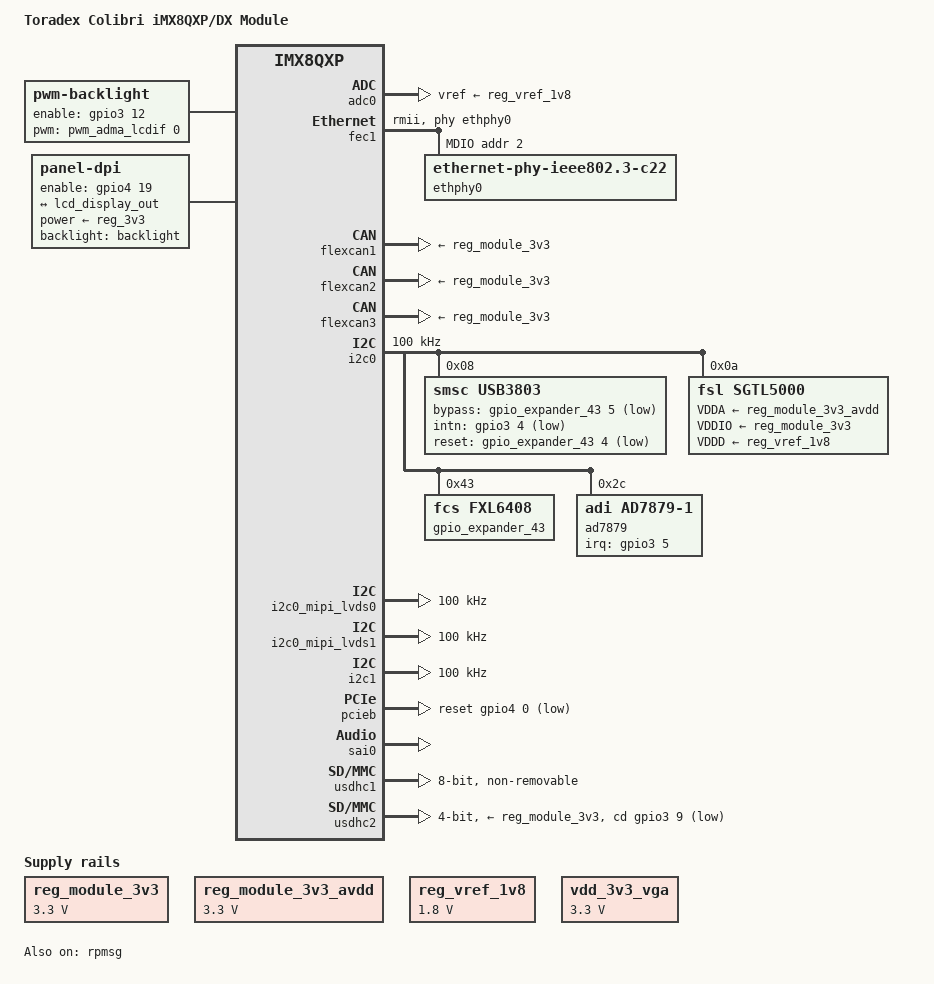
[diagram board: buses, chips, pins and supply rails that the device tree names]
// SPDX-License-Identifier: GPL-2.0+ OR X11
/*
 * Copyright 2018-2019 Toradex
 */

#include "dt-bindings/pwm/pwm.h"
#include "fsl-imx8qxp.dtsi"

/ {
	model = "Toradex Colibri iMX8QXP/DX Module";
	compatible = "toradex,colibri-imx8x", "fsl,imx8qxp";

	chosen {
		bootargs = "console=ttyLP3,115200 earlycon=lpuart32,0x5a090000,115200";
		stdout-path = &lpuart3;
	};

	backlight: backlight {
		compatible = "pwm-backlight";
		pinctrl-names = "default";
		pinctrl-0 = <&pinctrl_gpio_bl_on>;
		enable-gpios = <&gpio3 12 GPIO_ACTIVE_HIGH>; /* Colibri BL_ON */
		status = "disabled";
	};

	panel: panel {
		/*
		 * edt,et057090dhu: EDT 5.7" LCD TFT
		 * edt,et070080dh6: EDT 7.0" LCD TFT
		 * logictechno,lt161010-2nhc: Cap. Touch Display 7" Parallel
		 * logictechno,lt161010-2nhr: Res. Touch Display 7" Parallel
		 * logictechno,lt170410-2whc: Cap. Touch Display 10.1" LVDS
		 * tpk,f07a-0102: Capacitive Multi-Touch Display Fusion 7"
		 * tpk,f10a-0102: Capacitive Multi-Touch Display Fusion 10"
		 */
		compatible = "panel-dpi";
		backlight = <&backlight>;
		enable-gpios = <&gpio4 19 GPIO_ACTIVE_HIGH>;
		power-supply = <&reg_3v3>;

		width-mm = <217>;
		height-mm = <136>;

		data-mapping = "bgr666";

		panel-timing {
			/* Default VESA VGA display timings */
			clock-frequency = <25175000>;
			hactive = <640>;
			hback-porch = <48>;
			hfront-porch = <16>;
			hsync-len = <96>;
			vactive = <480>;
			vback-porch = <31>;
			vfront-porch = <11>;
			vsync-len = <2>;
			pixelclk-active = <0>;
		};

		port {
			lcd_panel_in: endpoint {
				remote-endpoint = <&lcd_display_out>;
			};
		};
	};

	regulators {
		compatible = "simple-bus";
		#address-cells = <1>;
		#size-cells = <0>;

		reg_module_3v3: regulator-module-3v3 {
			compatible = "regulator-fixed";
			regulator-name = "+V3.3";
			regulator-min-microvolt = <3300000>;
			regulator-max-microvolt = <3300000>;
		};

		reg_module_3v3_avdd: regulator-module-3v3-avdd {
			compatible = "regulator-fixed";
			regulator-name = "+V3.3_AVDD_AUDIO";
			regulator-min-microvolt = <3300000>;
			regulator-max-microvolt = <3300000>;
		};

		reg_vref_1v8: regulator-vref-1v8 {
			compatible = "regulator-fixed";
			regulator-name = "vref-1v8";
			regulator-min-microvolt = <1800000>;
			regulator-max-microvolt = <1800000>;
		};

		vdd_3v3_vga: regulator-vga-avcc {
			compatible = "regulator-fixed";
			regulator-name = "+3.3V_AVCC_VGA";
			regulator-min-microvolt = <3300000>;
			regulator-max-microvolt = <3300000>;
			regulator-always-on;
		};
	};

	sound {
		compatible = "simple-audio-card";
		simple-audio-card,name = "imx8qxp-sgtl5000";
		simple-audio-card,format = "i2s";
		simple-audio-card,bitclock-master = <&dailink_master>;
		simple-audio-card,frame-master = <&dailink_master>;
		/*simple-audio-card,mclk-fs = <1>;*/

		simple-audio-card,cpu {
			sound-dai = <&sai0>;
		};

		dailink_master: simple-audio-card,codec {
			sound-dai = <&sgtl5000>;
			clocks = <&clk IMX8QXP_AUD_MCLKOUT0>;
		};
	};
};

/* Colibri Analogue Inputs */
&adc0 {
	pinctrl-names = "default";
	pinctrl-0 = <&pinctrl_adc0>;
	vref-supply = <&reg_vref_1v8>;
};

/* Colibri Parallel RGB */
&adma_lcdif {
	pinctrl-names = "default";
	pinctrl-0 = <&pinctrl_lcdif>;
	bus-width = <18>;
	status = "okay";

	port@0 {
		lcd_display_out: lcdif-endpoint {
			remote-endpoint = <&lcd_panel_in>;
		};
	};
};

&backlight {
	brightness-levels = <0 45 63 88 119 158 203 255>;
	default-brightness-level = <4>;
	pwms = <&pwm_adma_lcdif 0 6666667 PWM_POLARITY_INVERTED>;
	status = "okay";
};

/* Colibri Ethernet */
&fec1 {
	pinctrl-names = "default", "sleep";
	pinctrl-0 = <&pinctrl_fec1>;
	pinctrl-1 = <&pinctrl_fec1_sleep>;
	clocks = <&clk IMX8QXP_ENET0_IPG_CLK>,
		 <&clk IMX8QXP_ENET0_AHB_CLK>,
		 <&clk IMX8QXP_ENET0_REF_50MHZ_CLK>,
		 <&clk IMX8QXP_ENET0_PTP_CLK>,
		 <&clk IMX8QXP_ENET0_TX_CLK>;
	phy-mode = "rmii";
	phy-handle = <&ethphy0>;
	fsl,magic-packet;

	mdio {
		#address-cells = <1>;
		#size-cells = <0>;

		ethphy0: ethernet-phy@2 {
			compatible = "ethernet-phy-ieee802.3-c22";
			max-speed = <100>;
			reg = <2>;
		};
	};
};

/* Colibri optional CAN on UART_B RTS/CTS */
&flexcan1 {
	pinctrl-names = "default";
	pinctrl-0 = <&pinctrl_flexcan1>;
	xceiver-supply = <&reg_module_3v3>;
};

/* Colibri optional CAN on PS2 */
&flexcan2 {
	pinctrl-names = "default";
	pinctrl-0 = <&pinctrl_flexcan2>;
	xceiver-supply = <&reg_module_3v3>;
};

/* Colibri optional CAN on UART_A TXD/RXD */
&flexcan3 {
	pinctrl-names = "default";
	pinctrl-0 = <&pinctrl_flexcan3>;
	xceiver-supply = <&reg_module_3v3>;
};

&gpio0 {
	status = "okay";
};

&gpio1 {
	status = "okay";
};

&gpio3 {
	status = "okay";
};

&gpio4 {
	status = "okay";
};

/* On-module I2C */
&i2c0 {
	#address-cells = <1>;
	#size-cells = <0>;
	clock-frequency = <100000>;
	pinctrl-names = "default";
	pinctrl-0 = <&pinctrl_i2c0>, <&pinctrl_sgtl5000_usb_clk>;
	status = "okay";

	/*
	 * IMX8QXP_AUD_MCLKOUT0 is used by both the usb3803 and sgtl5000
	 * So do the pinmuxing and setup for both here
	 */
	assigned-clocks = <&clk IMX8QXP_AUD_PLL0_DIV>,
			  <&clk IMX8QXP_AUD_ACM_AUD_PLL_CLK0_DIV>,
			  <&clk IMX8QXP_AUD_ACM_AUD_REC_CLK0_DIV>,
			  <&clk IMX8QXP_AUD_MCLKOUT0>;
	assigned-clock-rates = <786432000>, <49152000>, <12000000>, <12000000>;

	/* USB3503A */
	usb3803@08 {
		compatible = "smsc,usb3803";
		pinctrl-names = "default";
		pinctrl-0 = <&pinctrl_usb3503a>;
		reg = <0x08>;
		clocks = <&clk IMX8QXP_AUD_MCLKOUT0>;
		clock-names = "refclk";
		power-domains = <&pd_mclk_out0>;
		bypass-gpios = <&gpio_expander_43 5 GPIO_ACTIVE_LOW>;
		intn-gpios = <&gpio3 4 GPIO_ACTIVE_LOW>;
		reset-gpios = <&gpio_expander_43 4 GPIO_ACTIVE_LOW>;
		disabled-ports = <2>;
		initial-mode = <1>;
		non-removable-devices = <1>;
	};

	/* SGTL5000 */
	sgtl5000: codec@a {
		compatible = "fsl,sgtl5000";
		#sound-dai-cells = <0>;
		pinctrl-names = "default";
		pinctrl-0 = <&pinctrl_sgtl5000>;
		reg = <0x0a>;
		clocks = <&clk IMX8QXP_AUD_MCLKOUT0>;
		power-domains = <&pd_mclk_out0>;
		VDDA-supply = <&reg_module_3v3_avdd>;
		VDDIO-supply = <&reg_module_3v3>;
		VDDD-supply = <&reg_vref_1v8>;
	};

	/* GPIO expander */
	gpio_expander_43: gpio-expander@43 {
		compatible = "fcs,fxl6408";
		gpio-controller;
		#gpio-cells = <2>;
		reg = <0x43>;
		inital_io_dir = <0xff>;
		inital_output = <0x05>;
	};

	/* Touch controller */
	ad7879@2c {
		compatible = "adi,ad7879-1";
		pinctrl-names = "default";
		pinctrl-0 = <&pinctrl_ad7879_int>;
		reg = <0x2c>;
		interrupt-parent = <&gpio3>;
		interrupts = <5 IRQ_TYPE_EDGE_FALLING>;
		touchscreen-max-pressure = <4096>;
		adi,resistance-plate-x = <120>;
		adi,first-conversion-delay = /bits/ 8 <3>;
		adi,acquisition-time = /bits/ 8 <1>;
		adi,median-filter-size = /bits/ 8 <2>;
		adi,averaging = /bits/ 8 <1>;
		adi,conversion-interval = /bits/ 8 <255>;
	};
};

/* MIPI DSI accessible on FFC (X2) */
&i2c0_mipi_lvds0 {
	#address-cells = <1>;
	#size-cells = <0>;
	pinctrl-names = "default";
	pinctrl-0 = <&pinctrl_i2c0_mipi_lvds0>;
	clock-frequency = <100000>;
};

/* MIPI CSI accessible on FFC (X3) */
&i2c0_mipi_lvds1 {
	#address-cells = <1>;
	#size-cells = <0>;
	clock-frequency = <100000>;
	pinctrl-names = "default";
	pinctrl-0 = <&pinctrl_i2c0_mipi_lvds1>;
};

/* Colibri I2C */
&i2c1 {
	#address-cells = <1>;
	#size-cells = <0>;
	clock-frequency = <100000>;
	pinctrl-names = "default";
	pinctrl-0 = <&pinctrl_i2c1>;

	/* Atmel maxtouch controller */
	atmel_mxt_ts: atmel_mxt_ts@4a {
		compatible = "atmel,maxtouch";
		pinctrl-names = "default";
		pinctrl-0 = <&pinctrl_mxt_ts>;
		reg = <0x4a>;
		interrupt-parent = <&gpio3>;
		interrupts = <20 IRQ_TYPE_EDGE_FALLING>;	/* SODIMM 107 */
		reset-gpios = <&gpio3 24 GPIO_ACTIVE_HIGH>;	/* SODIMM 106 */
                status = "disabled";
        };
};

&iomuxc {
	pinctrl-names = "default";
	pinctrl-0 = <&pinctrl_hog0>, <&pinctrl_hog1>, <&pinctrl_hog2>,
			<&pinctrl_ext_io0>, <&pinctrl_mxt_ts>;

	colibri-imx8qxp {
		/* On-module touch pen-down interrupt */
		pinctrl_ad7879_int: ad7879-int {
			fsl,pins = <
				SC_P_MIPI_CSI0_I2C0_SCL_LSIO_GPIO3_IO05		0x21
			>;
		};

		/* Colibri Analogue Inputs */
		pinctrl_adc0: adc0grp {
			fsl,pins = <
				SC_P_ADC_IN0_ADMA_ADC_IN0			0x60		/* SODIMM   8 */
				SC_P_ADC_IN1_ADMA_ADC_IN1			0x60		/* SODIMM   6 */
				SC_P_ADC_IN4_ADMA_ADC_IN4			0x60		/* SODIMM   4 */
				SC_P_ADC_IN5_ADMA_ADC_IN5			0x60		/* SODIMM   2 */
			>;
		};

		pinctrl_can_int: can-int-grp {
			fsl,pins = <
				SC_P_QSPI0A_DQS_LSIO_GPIO3_IO13			0x40		/* SODIMM  73 */
			>;
		};

		pinctrl_csi_ctl: csictlgrp {
			fsl,pins = <
				SC_P_QSPI0A_SS0_B_LSIO_GPIO3_IO14		0x20		/* SODIMM  77 */
				SC_P_QSPI0A_SS1_B_LSIO_GPIO3_IO15		0x20		/* SODIMM  89 */
			>;
		};

		pinctrl_gpiokeys: gpiokeysgrp {
			fsl,pins = <
				SC_P_QSPI0A_DATA1_LSIO_GPIO3_IO10		0x06700041	/* SODIMM  45 */
			>;
		};

		/* Colibri UART_B */
		pinctrl_lpuart0: lpuart0grp {
			fsl,pins = <
				SC_P_UART0_RX_ADMA_UART0_RX			0x06000020	/* SODIMM  36 */
				SC_P_UART0_TX_ADMA_UART0_TX			0x06000020	/* SODIMM  38 */
				SC_P_FLEXCAN0_RX_ADMA_UART0_RTS_B		0x06000020	/* SODIMM  34 */
				SC_P_FLEXCAN0_TX_ADMA_UART0_CTS_B		0x06000020	/* SODIMM  32 */
			>;
		};

		/* Colibri UART_C */
		pinctrl_lpuart2: lpuart2grp {
			fsl,pins = <
				SC_P_UART2_RX_ADMA_UART2_RX			0x06000020	/* SODIMM  19 */
				SC_P_UART2_TX_ADMA_UART2_TX			0x06000020	/* SODIMM  21 */
			>;
		};

		/* Colibri UART_A */
		pinctrl_lpuart3: lpuart3grp {
			fsl,pins = <
				SC_P_FLEXCAN2_RX_ADMA_UART3_RX			0x06000020	/* SODIMM  33 */
				SC_P_FLEXCAN2_TX_ADMA_UART3_TX			0x06000020	/* SODIMM  35 */
			>;
		};

		/* Colibri UART_A Control */
		pinctrl_lpuart3_ctrl: lpuart3ctrlgrp {
			fsl,pins = <
				SC_P_MIPI_DSI1_GPIO0_01_LSIO_GPIO2_IO00 	0x20		/* SODIMM  23 */
				SC_P_SAI1_RXD_LSIO_GPIO0_IO29			0x20		/* SODIMM  25 */
				SC_P_SAI1_RXC_LSIO_GPIO0_IO30			0x20		/* SODIMM  27 */
				SC_P_CSI_RESET_LSIO_GPIO3_IO03			0x20		/* SODIMM  29 */
				SC_P_USDHC1_CD_B_LSIO_GPIO4_IO22		0x20		/* SODIMM  31 */
				SC_P_CSI_EN_LSIO_GPIO3_IO02			0x20		/* SODIMM  37 */
			>;
		};

		/* Colibri Ethernet: On-module 100Mbps PHY Micrel KSZ8041 */
		pinctrl_fec1: fec1grp {
			fsl,pins = <
				SC_P_COMP_CTL_GPIO_1V8_3V3_ENET_ENETB0_PAD	0x000014a0 /* Use pads in 3.3V mode */
				SC_P_COMP_CTL_GPIO_1V8_3V3_ENET_ENETB1_PAD	0x000014a0 /* Use pads in 3.3V mode */
				SC_P_ENET0_MDC_CONN_ENET0_MDC			0x06000020
				SC_P_ENET0_MDIO_CONN_ENET0_MDIO			0x06000020
				SC_P_ENET0_RGMII_TX_CTL_CONN_ENET0_RGMII_TX_CTL	0x61
				SC_P_ENET0_RGMII_TXC_CONN_ENET0_RCLK50M_OUT	0x06000061
				SC_P_ENET0_RGMII_TXD0_CONN_ENET0_RGMII_TXD0	0x61
				SC_P_ENET0_RGMII_TXD1_CONN_ENET0_RGMII_TXD1	0x61
				SC_P_ENET0_RGMII_RX_CTL_CONN_ENET0_RGMII_RX_CTL	0x61
				SC_P_ENET0_RGMII_RXD0_CONN_ENET0_RGMII_RXD0	0x61
				SC_P_ENET0_RGMII_RXD1_CONN_ENET0_RGMII_RXD1	0x61
				SC_P_ENET0_RGMII_RXD2_CONN_ENET0_RMII_RX_ER	0x61
			>;
		};

		pinctrl_fec1_sleep: fec1-sleep-grp {
			fsl,pins = <
				SC_P_ENET0_MDC_LSIO_GPIO5_IO11			0x06000041
				SC_P_ENET0_MDIO_LSIO_GPIO5_IO10			0x06000041
				SC_P_ENET0_RGMII_TX_CTL_LSIO_GPIO4_IO30		0x41
				SC_P_ENET0_RGMII_TXC_LSIO_GPIO4_IO29		0x41
				SC_P_ENET0_RGMII_TXD0_LSIO_GPIO4_IO31		0x41
				SC_P_ENET0_RGMII_TXD1_LSIO_GPIO5_IO00		0x41
				SC_P_ENET0_RGMII_RX_CTL_LSIO_GPIO5_IO04		0x41
				SC_P_ENET0_RGMII_RXD0_LSIO_GPIO5_IO05		0x41
				SC_P_ENET0_RGMII_RXD1_LSIO_GPIO5_IO06		0x41
				SC_P_ENET0_RGMII_RXD2_LSIO_GPIO5_IO07		0x41
			>;
		};

		/* Colibri LCD Back-Light GPIO */
		pinctrl_gpio_bl_on: gpio-bl-on {
			fsl,pins = <
				SC_P_QSPI0A_DATA3_LSIO_GPIO3_IO12		0x60		/* SODIMM  71 */
			>;
		};

		pinctrl_hog0: hog0grp {
			fsl,pins = <
				SC_P_COMP_CTL_GPIO_1V8_3V3_GPIORHB_PAD		0x000514a0 /* Use pads in 3.3V mode */
			>;
		};

		pinctrl_hog1: hog1grp {
			fsl,pins = <
				SC_P_ENET0_RGMII_TXD3_LSIO_GPIO5_IO02		0x06000020	/* SODIMM  65 */
				SC_P_CSI_D07_CI_PI_D09				0x61		/* SODIMM  65 */
				SC_P_QSPI0A_DATA2_LSIO_GPIO3_IO11		0x20		/* SODIMM  69 */
				SC_P_SAI0_TXC_LSIO_GPIO0_IO26			0x20		/* SODIMM  79 */
				SC_P_CSI_D02_CI_PI_D04				0x61		/* SODIMM  79 */
				SC_P_ENET0_RGMII_RXC_LSIO_GPIO5_IO03		0x06000020	/* SODIMM  85 */
				SC_P_CSI_D06_CI_PI_D08				0x61		/* SODIMM  85 */
				SC_P_QSPI0B_SCLK_LSIO_GPIO3_IO17		0x20		/* SODIMM  95 */
				SC_P_SAI0_RXD_LSIO_GPIO0_IO27			0x20		/* SODIMM  97 */
				SC_P_CSI_D03_CI_PI_D05				0x61		/* SODIMM  97 */
				SC_P_QSPI0B_DATA0_LSIO_GPIO3_IO18		0x20		/* SODIMM  99 */
				SC_P_SAI0_TXFS_LSIO_GPIO0_IO28			0x20		/* SODIMM 101 */
				SC_P_CSI_D00_CI_PI_D02				0x61		/* SODIMM 101 */
				SC_P_SAI0_TXD_LSIO_GPIO0_IO25			0x20		/* SODIMM 103 */
				SC_P_CSI_D01_CI_PI_D03				0x61		/* SODIMM 103 */
				SC_P_QSPI0B_DATA1_LSIO_GPIO3_IO19		0x20		/* SODIMM 105 */
				SC_P_USB_SS3_TC2_LSIO_GPIO4_IO05		0x20		/* SODIMM 127 */
				SC_P_USB_SS3_TC3_LSIO_GPIO4_IO06		0x20		/* SODIMM 131 */
				SC_P_USB_SS3_TC1_LSIO_GPIO4_IO04		0x20		/* SODIMM 133 */
				SC_P_CSI_PCLK_LSIO_GPIO3_IO00			0x20		/* SODIMM  96 */
				SC_P_QSPI0B_DATA3_LSIO_GPIO3_IO21		0x20		/* SODIMM  98 */
				SC_P_SAI1_RXFS_LSIO_GPIO0_IO31			0x20		/* SODIMM 100 */
				SC_P_QSPI0B_DQS_LSIO_GPIO3_IO22			0x20		/* SODIMM 102 */
				SC_P_QSPI0B_SS0_B_LSIO_GPIO3_IO23		0x20		/* SODIMM 104 */
			>;
		};

		pinctrl_hog2: hog2grp {
			fsl,pins = <
				SC_P_CSI_MCLK_LSIO_GPIO3_IO01			0x20		/* SODIMM  75 */
				SC_P_QSPI0A_SCLK_LSIO_GPIO3_IO16		0x20		/* SODIMM  93 */
			>;
		};

		/*
		 * This pin is used in the SCFW as a UART. Using it from
		 * Linux would require rewritting the SCFW board file.
		 */
		pinctrl_hog_scfw: hogscfwgrp {
			fsl,pins = <
				SC_P_SCU_GPIO0_00_LSIO_GPIO2_IO03		0x20		/* SODIMM 144 */
			>;
		};

		/* On Module I2C */
		pinctrl_i2c0: i2c0grp {
			fsl,pins = <
				SC_P_MIPI_CSI0_GPIO0_00_ADMA_I2C0_SCL		0x06000021
				SC_P_MIPI_CSI0_GPIO0_01_ADMA_I2C0_SDA		0x06000021
			>;
		};

		/* Colibri I2C */
		pinctrl_i2c1: i2c1grp {
			fsl,pins = <
				SC_P_MIPI_DSI0_GPIO0_00_ADMA_I2C1_SCL		0x06000021	/* SODIMM 196 */
				SC_P_MIPI_DSI0_GPIO0_01_ADMA_I2C1_SDA		0x06000021	/* SODIMM 194 */
			>;
		};

		/* Colibri optional CAN on UART_B RTS/CTS */
		pinctrl_flexcan1: flexcan0grp {
			fsl,pins = <
				SC_P_FLEXCAN0_TX_ADMA_FLEXCAN0_TX		0x21		/* SODIMM  32 */
				SC_P_FLEXCAN0_RX_ADMA_FLEXCAN0_RX		0x21		/* SODIMM  34 */
			>;
		};

		/* Colibri optional CAN on PS2 */
		pinctrl_flexcan2: flexcan1grp {
			fsl,pins = <
				SC_P_FLEXCAN1_TX_ADMA_FLEXCAN1_TX		0x21		/* SODIMM  55 */
				SC_P_FLEXCAN1_RX_ADMA_FLEXCAN1_RX		0x21		/* SODIMM  63 */
			>;
		};

		/* Colibri optional CAN on UART_A TXD/RXD */
		pinctrl_flexcan3: flexcan2grp {
			fsl,pins = <
				SC_P_FLEXCAN2_TX_ADMA_FLEXCAN2_TX		0x21		/* SODIMM  35 */
				SC_P_FLEXCAN2_RX_ADMA_FLEXCAN2_RX		0x21		/* SODIMM  33 */
			>;
		};

		/* On module wifi module */
		pinctrl_pcieb: pciebgrp {
			fsl,pins = <
				SC_P_PCIE_CTRL0_CLKREQ_B_LSIO_GPIO4_IO01	0x04000061	/* SODIMM 178 */
				SC_P_PCIE_CTRL0_WAKE_B_LSIO_GPIO4_IO02		0x04000061	/* SODIMM  94 */
				SC_P_PCIE_CTRL0_PERST_B_LSIO_GPIO4_IO00		0x60		/* SODIMM  81 */
			>;
		};

		/* Colibri PWM_A */
		pinctrl_pwm_a: pwma {
		/* both pins are connected together, reserve the unused CSI_D05 */
			fsl,pins = <
				SC_P_CSI_D05_CI_PI_D07				0x61		/* SODIMM  59 */
				SC_P_SPI0_CS1_ADMA_LCD_PWM0_OUT			0x60		/* SODIMM  59 */
			>;
		};

		/* Colibri PWM_B */
		pinctrl_pwm_b: pwmb {
			fsl,pins = <
				SC_P_UART1_TX_LSIO_PWM0_OUT			0x60		/* SODIMM  28 */
			>;
		};

		/* Colibri PWM_C */
		pinctrl_pwm_c: pwmc {
			fsl,pins = <
				SC_P_UART1_RX_LSIO_PWM1_OUT			0x60		/* SODIMM  30 */
			>;
		};

		/* Colibri PWM_D */
		pinctrl_pwm_d: pwmd {
		/* both pins are connected together, reserve the unused CSI_D04 */
			fsl,pins = <
				SC_P_CSI_D04_CI_PI_D06				0x61		/* SODIMM  67 */
				SC_P_UART1_RTS_B_LSIO_PWM2_OUT			0x60		/* SODIMM  67 */
			>;
		};

		/* On-module I2S */
		pinctrl_sai0: sai0grp {
			fsl,pins = <
				SC_P_SPI0_SDI_ADMA_SAI0_TXD			0x06000040
				SC_P_SPI0_CS0_ADMA_SAI0_RXD			0x06000040
				SC_P_SPI0_SCK_ADMA_SAI0_TXC			0x06000040
				SC_P_SPI0_SDO_ADMA_SAI0_TXFS			0x06000040
			>;
		};

		/* Colibri Audio Analogue Microphone GND */
		pinctrl_sgtl5000: sgtl5000 {
			fsl,pins = <
				/* MIC GND EN */
				SC_P_MIPI_CSI0_I2C0_SDA_LSIO_GPIO3_IO06		0x41
			>;
		};

		/* On-module SGTL5000 clock */
		pinctrl_sgtl5000_usb_clk: sgtl5000-usb-clk {
			fsl,pins = <
				SC_P_ADC_IN3_ADMA_ACM_MCLK_OUT0			0x21
			>;
		};

		/* On-module USB interrupt */
		pinctrl_usb3503a: usb3503a-grp {
			fsl,pins = <
				SC_P_MIPI_CSI0_MCLK_OUT_LSIO_GPIO3_IO04		0x61
			>;
		};

		/* Colibri USB Client Cable Detect */
		pinctrl_usbc_det: usbc-det {
			fsl,pins = <
				SC_P_ENET0_REFCLK_125M_25M_LSIO_GPIO5_IO09	0x06000040	/* SODIMM 137 */
			>;
		};

		pinctrl_ext_io0: ext-io0 {
			fsl,pins = <
				SC_P_ENET0_RGMII_RXD3_LSIO_GPIO5_IO08		0x06000040	/* SODIMM 135 */
			>;
		};

		/* Colibri Parallel RGB LCD Interface */
		pinctrl_lcdif: lcdif-pins {
			fsl,pins = <
				SC_P_MCLK_OUT0_ADMA_LCDIF_CLK			0x60		/* SODIMM  56 */
				SC_P_SPI3_CS0_ADMA_LCDIF_HSYNC			0x60		/* SODIMM  68 */
				SC_P_MCLK_IN0_ADMA_LCDIF_VSYNC			0x60		/* SODIMM  82 */
				SC_P_MCLK_IN1_ADMA_LCDIF_EN			0x60		/* SODIMM  44 */
				SC_P_USDHC1_RESET_B_LSIO_GPIO4_IO19		0x60		/* SODIMM  44 */
				SC_P_ESAI0_FSR_ADMA_LCDIF_D00			0x60		/* SODIMM  76 */
				SC_P_USDHC1_WP_LSIO_GPIO4_IO21			0x60		/* SODIMM  76 */
				SC_P_ESAI0_FST_ADMA_LCDIF_D01			0x60		/* SODIMM  70 */
				SC_P_ESAI0_SCKR_ADMA_LCDIF_D02			0x60		/* SODIMM  60 */
				SC_P_ESAI0_SCKT_ADMA_LCDIF_D03			0x60		/* SODIMM  58 */
				SC_P_ESAI0_TX0_ADMA_LCDIF_D04			0x60		/* SODIMM  78 */
				SC_P_ESAI0_TX1_ADMA_LCDIF_D05			0x60		/* SODIMM  72 */
				SC_P_ESAI0_TX2_RX3_ADMA_LCDIF_D06		0x60		/* SODIMM  80 */
				SC_P_ESAI0_TX3_RX2_ADMA_LCDIF_D07		0x60		/* SODIMM  46 */
				SC_P_ESAI0_TX4_RX1_ADMA_LCDIF_D08		0x60		/* SODIMM  62 */
				SC_P_ESAI0_TX5_RX0_ADMA_LCDIF_D09		0x60		/* SODIMM  48 */
				SC_P_SPDIF0_RX_ADMA_LCDIF_D10			0x60		/* SODIMM  74 */
				SC_P_SPDIF0_TX_ADMA_LCDIF_D11			0x60		/* SODIMM  50 */
				SC_P_SPDIF0_EXT_CLK_ADMA_LCDIF_D12		0x60		/* SODIMM  52 */
				SC_P_SPI3_SCK_ADMA_LCDIF_D13			0x60		/* SODIMM  54 */
				SC_P_SPI3_SDO_ADMA_LCDIF_D14			0x60		/* SODIMM  66 */
				SC_P_SPI3_SDI_ADMA_LCDIF_D15			0x60		/* SODIMM  64 */
				SC_P_SPI3_CS1_ADMA_LCDIF_D16			0x60		/* SODIMM  57 */
				SC_P_ENET0_RGMII_TXD2_LSIO_GPIO5_IO01		0x60		/* SODIMM  57 */
				SC_P_UART1_CTS_B_ADMA_LCDIF_D17			0x60		/* SODIMM  61 */
			>;
		};

		/* USB Host Power Enable */
		pinctrl_usbh1_reg: usbh1-reg {
			fsl,pins = <
				SC_P_USB_SS3_TC0_LSIO_GPIO4_IO03		0x06000040	/* SODIMM 129 */
			>;
		};

		/* On-module eMMC */
		pinctrl_usdhc1: usdhc1grp {
			fsl,pins = <
				SC_P_EMMC0_CLK_CONN_EMMC0_CLK			0x06000041
				SC_P_EMMC0_CMD_CONN_EMMC0_CMD			0x21
				SC_P_EMMC0_DATA0_CONN_EMMC0_DATA0		0x21
				SC_P_EMMC0_DATA1_CONN_EMMC0_DATA1		0x21
				SC_P_EMMC0_DATA2_CONN_EMMC0_DATA2		0x21
				SC_P_EMMC0_DATA3_CONN_EMMC0_DATA3		0x21
				SC_P_EMMC0_DATA4_CONN_EMMC0_DATA4		0x21
				SC_P_EMMC0_DATA5_CONN_EMMC0_DATA5		0x21
				SC_P_EMMC0_DATA6_CONN_EMMC0_DATA6		0x21
				SC_P_EMMC0_DATA7_CONN_EMMC0_DATA7		0x21
				SC_P_EMMC0_STROBE_CONN_EMMC0_STROBE		0x41
				SC_P_EMMC0_RESET_B_CONN_EMMC0_RESET_B		0x21
			>;
		};

		pinctrl_usdhc1_100mhz: usdhc1grp100mhz {
			fsl,pins = <
				SC_P_EMMC0_CLK_CONN_EMMC0_CLK			0x06000041
				SC_P_EMMC0_CMD_CONN_EMMC0_CMD			0x21
				SC_P_EMMC0_DATA0_CONN_EMMC0_DATA0		0x21
				SC_P_EMMC0_DATA1_CONN_EMMC0_DATA1		0x21
				SC_P_EMMC0_DATA2_CONN_EMMC0_DATA2		0x21
				SC_P_EMMC0_DATA3_CONN_EMMC0_DATA3		0x21
				SC_P_EMMC0_DATA4_CONN_EMMC0_DATA4		0x21
				SC_P_EMMC0_DATA5_CONN_EMMC0_DATA5		0x21
				SC_P_EMMC0_DATA6_CONN_EMMC0_DATA6		0x21
				SC_P_EMMC0_DATA7_CONN_EMMC0_DATA7		0x21
				SC_P_EMMC0_STROBE_CONN_EMMC0_STROBE		0x41
				SC_P_EMMC0_RESET_B_CONN_EMMC0_RESET_B		0x21
			>;
		};

		pinctrl_usdhc1_200mhz: usdhc1grp200mhz {
			fsl,pins = <
				SC_P_EMMC0_CLK_CONN_EMMC0_CLK			0x06000041
				SC_P_EMMC0_CMD_CONN_EMMC0_CMD			0x21
				SC_P_EMMC0_DATA0_CONN_EMMC0_DATA0		0x21
				SC_P_EMMC0_DATA1_CONN_EMMC0_DATA1		0x21
				SC_P_EMMC0_DATA2_CONN_EMMC0_DATA2		0x21
				SC_P_EMMC0_DATA3_CONN_EMMC0_DATA3		0x21
				SC_P_EMMC0_DATA4_CONN_EMMC0_DATA4		0x21
				SC_P_EMMC0_DATA5_CONN_EMMC0_DATA5		0x21
				SC_P_EMMC0_DATA6_CONN_EMMC0_DATA6		0x21
				SC_P_EMMC0_DATA7_CONN_EMMC0_DATA7		0x21
				SC_P_EMMC0_STROBE_CONN_EMMC0_STROBE		0x41
				SC_P_EMMC0_RESET_B_CONN_EMMC0_RESET_B		0x21
			>;
		};

		/* Colibri SDCard CardDetect */
		pinctrl_usdhc2_gpio: usdhc2gpiogrp {
			fsl,pins = <
				SC_P_QSPI0A_DATA0_LSIO_GPIO3_IO09		0x06000021	/* SODIMM  43 */
			>;
		};

		pinctrl_usdhc2_gpio_sleep: usdhc2gpioslpgrp {
			fsl,pins = <
				SC_P_QSPI0A_DATA0_LSIO_GPIO3_IO09		0x60		/* SODIMM  43 */
			>;
		};

		/* Colibri SDCard */
		pinctrl_usdhc2: usdhc2grp {
			fsl,pins = <
				SC_P_USDHC1_CLK_CONN_USDHC1_CLK			0x06000041	/* SODIMM  47 */
				SC_P_USDHC1_CMD_CONN_USDHC1_CMD			0x21		/* SODIMM 190 */
				SC_P_USDHC1_DATA0_CONN_USDHC1_DATA0		0x21		/* SODIMM 192 */
				SC_P_USDHC1_DATA1_CONN_USDHC1_DATA1		0x21		/* SODIMM  49 */
				SC_P_USDHC1_DATA2_CONN_USDHC1_DATA2		0x21		/* SODIMM  51 */
				SC_P_USDHC1_DATA3_CONN_USDHC1_DATA3		0x21		/* SODIMM  53 */
				SC_P_USDHC1_VSELECT_CONN_USDHC1_VSELECT		0x21
			>;
		};

		pinctrl_usdhc2_100mhz: usdhc2grp100mhz {
			fsl,pins = <
				SC_P_USDHC1_CLK_CONN_USDHC1_CLK			0x06000041	/* SODIMM  47 */
				SC_P_USDHC1_CMD_CONN_USDHC1_CMD			0x21		/* SODIMM 190 */
				SC_P_USDHC1_DATA0_CONN_USDHC1_DATA0		0x21		/* SODIMM 192 */
				SC_P_USDHC1_DATA1_CONN_USDHC1_DATA1		0x21		/* SODIMM  49 */
				SC_P_USDHC1_DATA2_CONN_USDHC1_DATA2		0x21		/* SODIMM  51 */
				SC_P_USDHC1_DATA3_CONN_USDHC1_DATA3		0x21		/* SODIMM  53 */
				SC_P_USDHC1_VSELECT_CONN_USDHC1_VSELECT		0x21
			>;
		};

		pinctrl_usdhc2_200mhz: usdhc2grp200mhz {
			fsl,pins = <
				SC_P_USDHC1_CLK_CONN_USDHC1_CLK			0x06000041	/* SODIMM  47 */
				SC_P_USDHC1_CMD_CONN_USDHC1_CMD			0x21		/* SODIMM 190 */
				SC_P_USDHC1_DATA0_CONN_USDHC1_DATA0		0x21		/* SODIMM 192 */
				SC_P_USDHC1_DATA1_CONN_USDHC1_DATA1		0x21		/* SODIMM  49 */
				SC_P_USDHC1_DATA2_CONN_USDHC1_DATA2		0x21		/* SODIMM  51 */
				SC_P_USDHC1_DATA3_CONN_USDHC1_DATA3		0x21		/* SODIMM  53 */
				SC_P_USDHC1_VSELECT_CONN_USDHC1_VSELECT		0x21
			>;
		};

		pinctrl_usdhc2_sleep: usdhc2slpgrp {
			fsl,pins = <
				SC_P_USDHC1_CLK_LSIO_GPIO4_IO23			0x60		/* SODIMM  47 */
				SC_P_USDHC1_CMD_LSIO_GPIO4_IO24			0x60		/* SODIMM 190 */
				SC_P_USDHC1_DATA0_LSIO_GPIO4_IO25		0x60		/* SODIMM 192 */
				SC_P_USDHC1_DATA1_LSIO_GPIO4_IO26		0x60		/* SODIMM  49 */
				SC_P_USDHC1_DATA2_LSIO_GPIO4_IO27		0x60		/* SODIMM  51 */
				SC_P_USDHC1_DATA3_LSIO_GPIO4_IO28		0x60		/* SODIMM  53 */
				SC_P_USDHC1_VSELECT_CONN_USDHC1_VSELECT		0x21
			>;
		};

		/* MIPI DSI I2C accessible on SODIMM (X1) and FFC (X2) */
		pinctrl_i2c0_mipi_lvds0: mipi_lvds0_i2c0_grp {
			fsl,pins = <
				SC_P_MIPI_DSI0_I2C0_SCL_MIPI_DSI0_I2C0_SCL 	0xc6000020	/* SODIMM 140 */
				SC_P_MIPI_DSI0_I2C0_SDA_MIPI_DSI0_I2C0_SDA 	0xc6000020	/* SODIMM 142 */
			>;
		};

		/* MIPI CSI I2C accessible on SODIMM (X1) and FFC (X3) */
		pinctrl_i2c0_mipi_lvds1: mipi_lvds1_i2c0_grp {
			fsl,pins = <
				SC_P_MIPI_DSI1_I2C0_SCL_MIPI_DSI1_I2C0_SCL 	0xc6000020	/* SODIMM 186 */
				SC_P_MIPI_DSI1_I2C0_SDA_MIPI_DSI1_I2C0_SDA 	0xc6000020	/* SODIMM 188 */
			>;
		};

		/* Colibri SPI */
		pinctrl_lpspi2: lpspi2 {
			fsl,pins = <
				SC_P_SPI2_CS0_LSIO_GPIO1_IO00			0x21		/* SODIMM  86 */
				SC_P_SPI2_SDO_ADMA_SPI2_SDO			0x06000040	/* SODIMM  92 */
				SC_P_SPI2_SDI_ADMA_SPI2_SDI			0x06000040	/* SODIMM  90 */
				SC_P_SPI2_SCK_ADMA_SPI2_SCK			0x06000040	/* SODIMM  88 */
			>;
		};

		pinctrl_wifi: wifigrp {
			fsl,pins = <
				SC_P_SCU_BOOT_MODE3_SCU_DSC_RTC_CLOCK_OUTPUT_32K 0x20
			>;
		};

		pinctrl_mxt_ts: mxt-ts {
			fsl,pins = <
				SC_P_QSPI0B_DATA2_LSIO_GPIO3_IO20		0x20		/* SODIMM 107 */
				SC_P_QSPI0B_SS1_B_LSIO_GPIO3_IO24		0x20		/* SODIMM 106 */
			>;
		};
	};
};

/* Colibri SPI */
&lpspi2 {
	#address-cells = <1>;
	#size-cells = <0>;
	fsl,spi-num-chipselects = <1>;
	pinctrl-names = "default";
	pinctrl-0 = <&pinctrl_lpspi2>;
	cs-gpios = <&gpio1 0 GPIO_ACTIVE_LOW>;
};

/* Colibri UART_B */
&lpuart0 {
	pinctrl-names = "default";
	pinctrl-0 = <&pinctrl_lpuart0>;
};

/* Colibri UART_C */
&lpuart2 {
	pinctrl-names = "default";
	pinctrl-0 = <&pinctrl_lpuart2>;
};

/* Colibri UART_A */
&lpuart3 {
	pinctrl-names = "default";
	pinctrl-0 = <&pinctrl_lpuart3>, <&pinctrl_lpuart3_ctrl>;
};

/* MIPI CSI accessible via FFC (X3) */
&mipi_csi_0 {
	#address-cells = <1>;
	#size-cells = <0>;
	/delete-property/virtual-channel;
};

&mipi_dsi1 {
	pwr-delay = <10>;
};

&mipi_dsi2 {
	pwr-delay = <10>;
};

/* On-module PCIe for wifi */
&pcieb{
/*
 * WARNING! Enabling "epdev_on-supply" leads a crash of pcie driver on
 * system suspend.
 */
	pinctrl-names = "default";
	pinctrl-0 = <&pinctrl_pcieb &pinctrl_wifi>;
	ext_osc = <1>;
	clkreq-gpio = <&gpio_expander_43 3 GPIO_ACTIVE_HIGH>;
	disable-gpio = <&gpio_expander_43 6 GPIO_ACTIVE_LOW>;
	power-on-gpio = <&gpio_expander_43 2 GPIO_ACTIVE_LOW>;
	reset-gpio = <&gpio4 0 GPIO_ACTIVE_LOW>;
	fsl,max-link-speed = <1>;
	status = "okay";
};

&pd_dma_lpuart3 {
	debug_console;
};

/* Colibri PWM_A */
&pwm_adma_lcdif {
	pinctrl-names = "default";
	pinctrl-0 = <&pinctrl_pwm_a>;
	#pwm-cells = <3>;
};

/* Colibri PWM_B */
&pwm0 {
	pinctrl-names = "default";
	pinctrl-0 = <&pinctrl_pwm_b>;
	#pwm-cells = <3>;
};

/* Colibri PWM_C */
&pwm1 {
	pinctrl-names = "default";
	pinctrl-0 = <&pinctrl_pwm_c>;
	#pwm-cells = <3>;
};

/* Colibri PWM_D */
&pwm2 {
	pinctrl-names = "default";
	pinctrl-0 = <&pinctrl_pwm_d>;
	#pwm-cells = <3>;
};

&rpmsg{
	/*
	 * 64K for one rpmsg instance:
	 */
	vdev-nums = <2>;
	reg = <0x0 0x90000000 0x0 0x20000>;
	status = "okay";
};

/* On-module I2S */
&sai0 {
	#sound-dai-cells = <0>;
	pinctrl-names = "default";
	pinctrl-0 = <&pinctrl_sai0>;
	status = "okay";
};

&tsens {
	tsens-num = <3>;
};

&thermal_zones {
	pmic-thermal0 {
		polling-delay-passive = <250>;
		polling-delay = <2000>;
		thermal-sensors = <&tsens 2>;

		trips {
			pmic_alert0: trip0 {
				temperature = <80000>;
				hysteresis = <2000>;
				type = "passive";
			};

			pmic_crit0: trip1 {
				temperature = <125000>;
				hysteresis = <2000>;
				type = "critical";
			};
		};

		cooling-maps {
			map0 {
				trip = <&pmic_alert0>;
				cooling-device =
				<&A35_0 THERMAL_NO_LIMIT THERMAL_NO_LIMIT>;
			};
		};
	};
};

/* On-module eMMC */
&usdhc1 {
	bus-width = <8>;
	non-removable;
	pinctrl-names = "default", "state_100mhz", "state_200mhz";
	pinctrl-0 = <&pinctrl_usdhc1>;
	pinctrl-1 = <&pinctrl_usdhc1_100mhz>;
	pinctrl-2 = <&pinctrl_usdhc1_200mhz>;
	status = "okay";
};

/* Colibri SDCard */
&usdhc2 {
	bus-width = <4>;
	cd-gpios = <&gpio3 9 GPIO_ACTIVE_LOW>;
	pinctrl-names = "default", "state_100mhz", "state_200mhz", "sleep";
	pinctrl-0 = <&pinctrl_usdhc2>, <&pinctrl_usdhc2_gpio>;
	pinctrl-1 = <&pinctrl_usdhc2_100mhz>, <&pinctrl_usdhc2_gpio>;
	pinctrl-2 = <&pinctrl_usdhc2_200mhz>, <&pinctrl_usdhc2_gpio>;
	pinctrl-3 = <&pinctrl_usdhc2_sleep>, <&pinctrl_usdhc2_gpio_sleep>;
	disable-wp;
	/*
	 * The PMIC on V1.0A HW generates 1.6V instead of 1.8V which creates
	 * issues with certain SD cards, disable 1.8V signaling for now.
	 */
	no-1-8-v;
	vmmc-supply = <&reg_module_3v3>;
};

&vpu_decoder {
	core_type = <1>;
};

&vpu_encoder {
	core_type = <1>;
};
